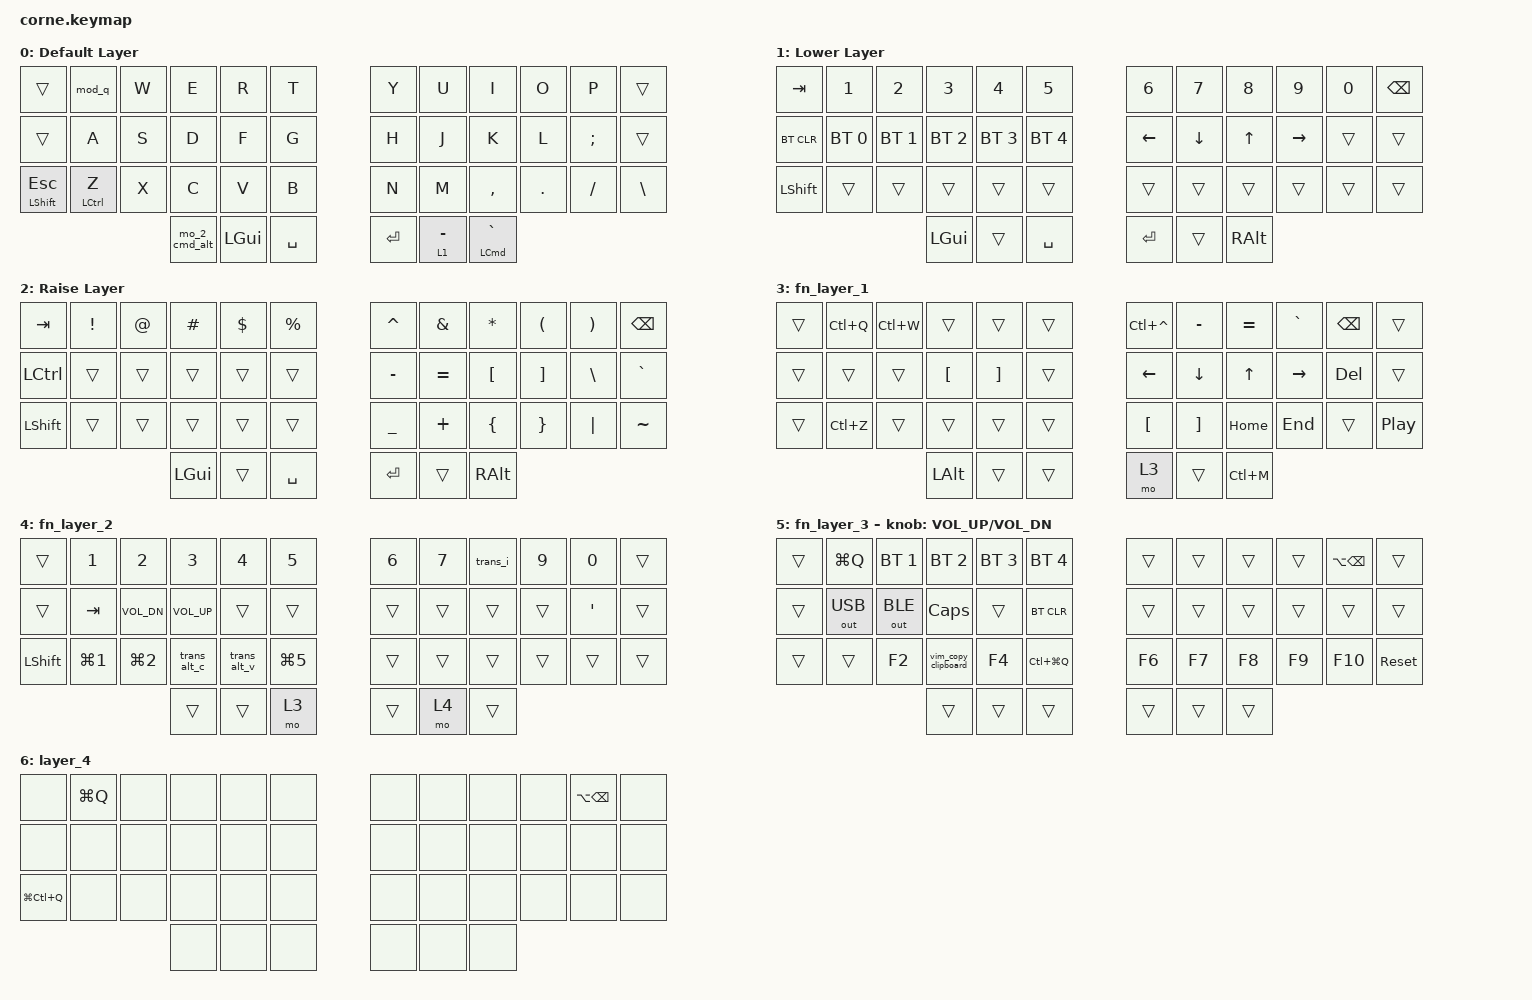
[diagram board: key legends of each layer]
/*
 * Copyright (c) 2020 The ZMK Contributors
 *
 * SPDX-License-Identifier: MIT
 */

#include <behaviors.dtsi>
#include <dt-bindings/zmk/bt.h>
#include <dt-bindings/zmk/keys.h>
#include <dt-bindings/zmk/outputs.h>

/ {
        keymap {
                compatible = "zmk,keymap";

                default_layer {
                        display-name = "Default Layer";
// -----------------------------------------------------------------------------------------
// |  TAB |  Q  |  W  |  E  |  R  |  T  |   |  Y  |  U   |  I  |  O  |  P  | BSPC |
// | CTRL |  A  |  S  |  D  |  F  |  G  |   |  H  |  J   |  K  |  L  |  ;  |  '   |
// | SHFT |  Z  |  X  |  C  |  V  |  B  |   |  N  |  M   |  ,  |  .  |  /  | ESC  |
//                    | GUI | LWR | SPC |   | ENT | RSE  | ALT |
                        bindings = <
   &kp TAB   &kp Q &kp W &kp E &kp R &kp T   &kp Y &kp U  &kp I     &kp O   &kp P    &kp BSPC
   &kp LCTRL &kp A &kp S &kp D &kp F &kp G   &kp H &kp J  &kp K     &kp L   &kp SEMI &kp SQT
   &kp LSHFT &kp Z &kp X &kp C &kp V &kp B   &kp N &kp M  &kp COMMA &kp DOT &kp FSLH &kp ESC
                  &kp LGUI &mo 1 &kp SPACE   &kp RET &mo 2 &kp RALT
                        >;
                };
                lower_layer {
                        display-name = "Lower Layer";
// -----------------------------------------------------------------------------------------
// |  TAB |  1  |  2  |  3  |  4  |  5  |   |  6  |  7  |  8  |  9  |  0  | BSPC |
// | BTCLR| BT1 | BT2 | BT3 | BT4 | BT5 |   | LFT | DWN |  UP | RGT |     |      |
// | SHFT |     |     |     |     |     |   |     |     |     |     |     |      |
//                    | GUI |     | SPC |   | ENT |     | ALT |
                        bindings = <
   &kp TAB    &kp N1       &kp N2       &kp N3       &kp N4       &kp N5         &kp N6   &kp N7   &kp N8 &kp N9    &kp N0 &kp BSPC
   &bt BT_CLR &bt BT_SEL 0 &bt BT_SEL 1 &bt BT_SEL 2 &bt BT_SEL 3 &bt BT_SEL 4   &kp LEFT &kp DOWN &kp UP &kp RIGHT &trans &trans
   &kp LSHFT  &trans       &trans       &trans       &trans       &trans         &trans   &trans   &trans &trans    &trans &trans
                                    &kp LGUI     &trans       &kp SPACE      &kp RET  &trans   &kp RALT
                        >;
                };

                raise_layer {
                        display-name = "Raise Layer";
// -----------------------------------------------------------------------------------------
// |  TAB |  !  |  @  |  #  |  $  |  %  |   |  ^  |  &  |  *  |  (  |  )  | BSPC |
// | CTRL |     |     |     |     |     |   |  -  |  =  |  [  |  ]  |  \  |  `   |
// | SHFT |     |     |     |     |     |   |  _  |  +  |  {  |  }  | "|" |  ~   |
//                    | GUI |     | SPC |   | ENT |     | ALT |
                        bindings = <
   &kp  TAB  &kp EXCL &kp AT &kp HASH &kp DLLR &kp PRCNT   &kp CARET &kp AMPS  &kp ASTRK &kp LPAR &kp RPAR &kp BSPC
   &kp LCTRL &trans   &trans &trans   &trans   &trans      &kp MINUS &kp EQUAL &kp LBKT  &kp RBKT &kp BSLH &kp GRAVE
   &kp LSHFT &trans   &trans &trans   &trans   &trans      &kp UNDER &kp PLUS  &kp LBRC  &kp RBRC &kp PIPE &kp TILDE
                             &kp LGUI &trans   &kp SPACE   &kp RET   &trans    &kp RALT
                        >;
                };
        };
};

/ {
    behaviors {
        mo_2_cmd_alt: mo_2_cmd_alt {
            compatible = "zmk,behavior-mod-morph";
            label = "MO_2_CMD_ALT";
            #binding-cells = <0>;
            bindings = <&mo 2>, <&kp LALT>;

            mods = <(MOD_LGUI)>;
            keep-mods = <(MOD_LGUI)>;
        };

        // for cmd + alt + I

        trans_i: trans_i {
            compatible = "zmk,behavior-mod-morph";
            label = "TRANS_I";
            #binding-cells = <0>;
            bindings = <&kp N8>, <&kp LA(I)>;

            mods = <(MOD_LGUI)>;
            keep-mods = <(MOD_LGUI)>;
        };

        trans_alt_c: trans_alt_c {
            compatible = "zmk,behavior-mod-morph";
            label = "TRANS_ALT_C";
            #binding-cells = <0>;
            bindings = <&kp LG(N3)>, <&kp C>;

            mods = <(MOD_LGUI)>;
            keep-mods = <(MOD_LGUI)>;
        };

        trans_alt_v: trans_alt_v {
            compatible = "zmk,behavior-mod-morph";
            label = "TRANS_ALT_V";
            #binding-cells = <0>;
            bindings = <&kp LG(N4)>, <&kp V>;

            mods = <(MOD_LGUI)>;
            keep-mods = <(MOD_LGUI)>;
        };

        hold_tap_magic: hold_tap_magic {
            compatible = "zmk,behavior-hold-tap";
            label = "HOLD_TAP_MAGIC";
            bindings = <&kp>, <&kp>;

            #binding-cells = <2>;
            tapping-term-ms = <130>;
            hold-while-undecided;
            flavor = "hold-preferred";
        };

        hold_tap_ctrl: hold_tap_ctrl {
            compatible = "zmk,behavior-hold-tap";
            label = "HOLD_TAP_ctrl";
            bindings = <&kp>, <&kp>;

            #binding-cells = <2>;
            tapping-term-ms = <110>;
            hold-while-undecided;
            flavor = "hold-preferred";
            hold-trigger-key-positions = <1 2 4 5 17 16 15 14 13 25 26 27 28 29 30 18 6 7 19 31 32 20 8 9 21 34 22 33 10 35 24 36 37 38 39 41 40 14 15 16 26 27 28 36>;
        };

        mod_q: mod_q {
            compatible = "zmk,behavior-mod-morph";
            label = "MOD_Q";
            bindings = <&kp Q>, <&kp TAB>;

            #binding-cells = <0>;
            keep-mods = <(MOD_LGUI|MOD_LSFT|MOD_LCTL)>;
            mods = <(MOD_LGUI|MOD_LCTL)>;
        };

        mo_tapper: mo_tapper {
            compatible = "zmk,behavior-hold-tap";
            label = "MO_TAPPER";
            bindings = <&mo>, <&kp>;

            #binding-cells = <2>;
            tapping-term-ms = <100>;
            quick-tap-ms = <75>;
        };
    };

    macros {
        vim_copy_clipboard: vim_copy_clipboard {
            compatible = "zmk,behavior-macro";
            #binding-cells = <0>;
            bindings = <&kp DQT &kp PLUS &kp Y>;
            label = "VIM_COPY_CLIPBOARD";
        };
    };

    keymap {
        compatible = "zmk,keymap";

        default_layer {
            bindings = <
&trans                          &mod_q                  &kp W  &kp E          &kp R     &kp T        &kp Y    &kp U               &kp I                               &kp O    &kp P     &trans
&trans                          &kp A                   &kp S  &kp D          &kp F     &kp G        &kp H    &kp J               &kp K                               &kp L    &kp SEMI  &trans
&hold_tap_magic LEFT_SHIFT ESC  &hold_tap_ctrl LCTRL Z  &kp X  &kp C          &kp V     &kp B        &kp N    &kp M               &kp COMMA                           &kp DOT  &kp FSLH  &kp BACKSLASH
                                                               &mo_2_cmd_alt  &kp LGUI  &kp SPACE    &kp RET  &mo_tapper 1 MINUS  &hold_tap_magic LEFT_COMMAND GRAVE
            >;
        };

        fn_layer_1 {
            bindings = <
&trans  &kp LC(Q)  &kp LC(W)  &trans    &trans    &trans    &kp LC(CARET)     &kp MINUS          &kp EQUAL  &kp GRAVE  &kp BACKSPACE  &trans
&trans  &trans     &trans     &kp LBKT  &kp RBKT  &trans    &kp LEFT          &kp DOWN           &kp UP     &kp RIGHT  &kp DEL        &trans
&trans  &kp LC(Z)  &trans     &trans    &trans    &trans    &kp LEFT_BRACKET  &kp RIGHT_BRACKET  &kp HOME   &kp END    &trans         &kp C_PP
                              &kp LALT  &trans    &trans    &mo 3             &trans             &kp LC(M)
            >;
        };

        fn_layer_2 {
            bindings = <
&trans          &kp N1      &kp N2        &kp N3        &kp N4        &kp N5        &kp N6  &kp N7  &trans_i  &kp N9  &kp N0   &trans
&trans          &kp TAB     &kp C_VOL_DN  &kp C_VOL_UP  &trans        &trans        &trans  &trans  &trans    &trans  &kp SQT  &trans
&kp LEFT_SHIFT  &kp LG(N1)  &kp LG(N2)    &trans_alt_c  &trans_alt_v  &kp LG(N5)    &trans  &trans  &trans    &trans  &trans   &trans
                                          &trans        &trans        &mo 3         &trans  &mo 4   &trans
            >;
        };

        fn_layer_3 {
            bindings = <
&trans  &kp LG(Q)     &bt BT_SEL 1  &bt BT_SEL 2         &bt BT_SEL 3  &bt BT_SEL 4     &trans  &trans  &trans  &trans  &kp LA(BACKSPACE)  &trans
&trans  &out OUT_USB  &out OUT_BLE  &kp CAPSLOCK         &trans        &bt BT_CLR       &trans  &trans  &trans  &trans  &trans             &trans
&trans  &trans        &kp F2        &vim_copy_clipboard  &kp F4        &kp LC(LG(Q))    &kp F6  &kp F7  &kp F8  &kp F9  &kp F10            &sys_reset
                                    &trans               &trans        &trans           &trans  &trans  &trans
            >;

            sensor-bindings = <&inc_dec_kp C_VOL_UP C_VOL_DN>;
        };

        layer_4 {
            bindings = <
&none          &kp LG(Q)  &none  &none  &none  &none    &none  &none  &none  &none  &kp LA(BACKSPACE)  &none
&none          &none      &none  &none  &none  &none    &none  &none  &none  &none  &none              &none
&kp LG(LC(Q))  &none      &none  &none  &none  &none    &none  &none  &none  &none  &none              &none
                                 &none  &none  &none    &none  &none  &none
            >;
        };
    };
};

